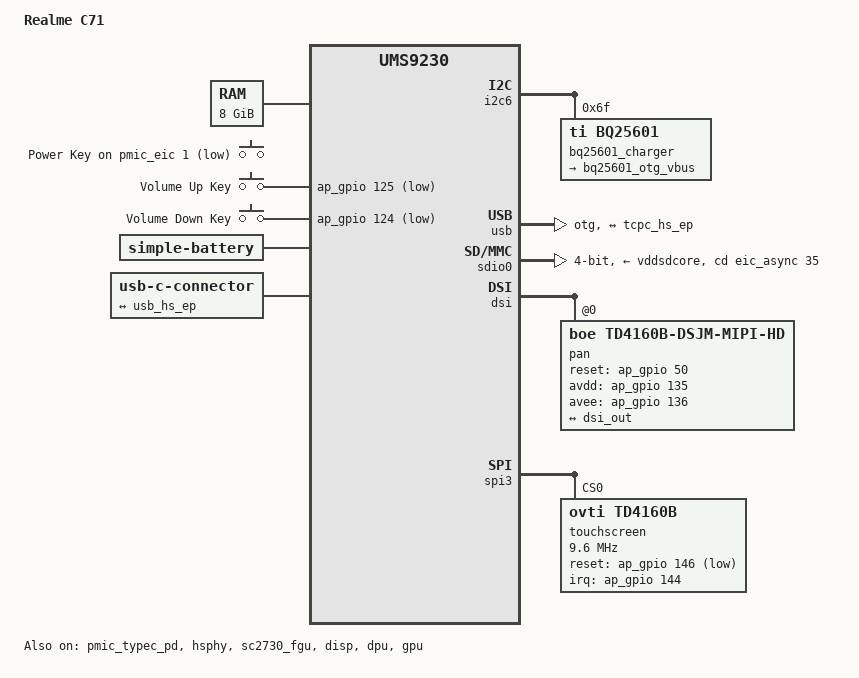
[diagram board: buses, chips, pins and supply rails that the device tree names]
// SPDX-License-Identifier: (GPL-2.0 OR MIT)
/*
 * Copyright (C) 2026 
 */

/dts-v1/;

#include <dt-bindings/input/input.h>
#include <dt-bindings/leds/common.h>
#include <dt-bindings/media/sprd-camsys.h>
#include <dt-bindings/usb/pd.h>
#include "ums9230.dtsi"
#include "sc2730.dtsi"

/ {
	model = "Realme C71";

	compatible = "sprd,ums9230-dhaka", "sprd,ums9230";

        aliases {
                serial0 = &uart0;
                serial1 = &uart1;
                mmc0 = &sdio0;
                i2c0 = &i2c0;
                i2c1 = &i2c1;
                i2c2 = &i2c2;
                i2c3 = &i2c3;
                i2c4 = &i2c4;
                i2c5 = &i2c5;
                i2c6 = &i2c6;
                i2c7 = &aon_i2c0;
        };


	chosen {
		bootargs = "clk_ignore_unused pd_ignore_unused regulator_ignore_unused";

		framebuffer {
			compatible = "simple-framebuffer";
			memory-region = <&framebuffer_region>;
			width = <720>;
			height = <1604>;
			stride = <(720 * 4)>;
			format = "a8r8g8b8";
			status = "disabled"; /* display driver is enabled */

		};
	};

        memory@80000000 {
                device_type = "memory";
                reg = <0x00 0x80000000 0x01 0xfffff000>;
        };

	reserved-memory {
		framebuffer_region: framebuffer-region@9caa8000 {
			compatible = "framebuffer";
			reg = <0 0x9caa8000 0 (720 * 1604 * 4)>;
			iommu-addresses = <&dpu 0x9caa8000 (720 * 1604 * 4)>;
			no-map;
		};

		ramoops@fff80000 {
			compatible = "ramoops";
			reg = <0x0 0xfff80000 0x0 0x40000>;
			console-size = <0x8000>;
			record-size = <0x8000>;
			pmsg-size = <0x8000>;
		};

		linux,cma {
			compatible = "shared-dma-pool";
			size = <0x0 0x8000000>;
			reusable;
			linux,cma-default;
		};
	};

	gpio-keys {
		compatible = "gpio-keys";

		key-power {
			label = "Power Key";
			linux,code = <KEY_POWER>;
			gpios = <&pmic_eic 1 GPIO_ACTIVE_LOW>;
			debounce-interval = <0x02>;
			wakeup-source;
		};

		key-volumeup {
			label = "Volume Up Key";
			linux,code = <KEY_VOLUMEUP>;
			gpios = <&ap_gpio 125 GPIO_ACTIVE_LOW>;
			debounce-interval = <2>;
			wakeup-source;
		};

		key-volumedown {
			label = "Volume Down Key";
			linux,code = <KEY_VOLUMEDOWN>;
			gpios = <&ap_gpio 124 GPIO_ACTIVE_LOW>;
			debounce-interval = <2>;
			wakeup-source;
		};
	};

        bat: battery {
                compatible = "simple-battery";
                charge-full-design-microamp-hours = <4096000>;
                charge-term-current-microamp = <130000>;
                constant-charge-voltage-max-microvolt = <4400000>;
                constant-charge-current-max-microamp = <2000000>;
                voltage-min-design-microvolt = <3500000>;
                voltage-max-design-microvolt = <4370000>;
                factory-internal-resistance-micro-ohms = <268000>;
                resistance-temp-table = <45 53>, <25 100>, <10 395>,
                                        <0 567>, <(-10) 793>;
                ocv-capacity-celsius = <20>;
                ocv-capacity-table-0 = <4362000 100>, <4316000 95>,
                                       <4256000 90>, <4197000 85>,
                                       <4142000 80>, <4089000 75>,
                                       <4040000 70>, <3981000 65>,
                                       <3941000 60>, <3890000 55>,
                                       <3853000 50>, <3826000 45>,
                                       <3805000 40>, <3788000 35>,
                                       <3776000 30>, <3767000 25>,
                                       <3751000 20>, <3725000 15>,
                                       <3693000 10>, <3675000 5>,
                                       <3400000 0>;
        };

};

&i2c6 {
        status = "okay";

        #address-cells = <1>;
        #size-cells = <0>;

        bq25601_charger: charger@6f {
                compatible = "ti,bq25601";
                reg = <0x6f>;
                monitored-battery = <&bat>;

                bq25601_otg_vbus: usb-otg-vbus {
                        regulator-name = "usb-otg-vbus";
                };
        };
};

&pmic_typec_pd {
        vbus-supply = <&bq25601_otg_vbus>;
        status = "okay";

        connector {
                compatible = "usb-c-connector";
                label = "USB-C";
                data-role = "dual";
                power-role = "dual";
                try-power-role = "sink";
                source-pdos = <PDO_FIXED(5000, 1200, PDO_FIXED_USB_COMM)>;
                sink-pdos = <PDO_FIXED(5000, 3000, PDO_FIXED_USB_COMM)>;
                op-sink-microwatt = <10000000>;
        
                port {
                        tcpc_hs_ep: endpoint {
                                remote-endpoint = <&usb_hs_ep>;
                        };
                };
        };
};

&usb {
        dr_mode = "otg";
        usb-role-switch;
        role-switch-default-mode = "peripheral";
        status = "okay";

        port {
                usb_hs_ep: endpoint {
                        remote-endpoint = <&tcpc_hs_ep>;
                };
        };
};

&hsphy {
        phy-supply = <&vddusb33>;
        status = "okay";
};

&sc2730_fgu {
        power-supplies = <&bq25601_charger>;
        monitored-battery = <&bat>;
        sprd,calib-resistance-micro-ohms = <4980>;

        status = "okay";
};


/* SD Card */
&sdio0 {
        status = "okay";

        vmmc-supply = <&vddsdcore>;
        vqmmc-supply = <&vddsdio>;
        cd-gpios = <&eic_async 35 GPIO_ACTIVE_HIGH>;

        bus-width = <4>;
        no-sdio;
        no-mmc;
        sprd,phy-delay-sd-uhs-sdr104 = <0x7f 0x73 0x72 0x72>;
        sprd,phy-delay-sd-uhs-sdr50 = <0x6e 0x7f 0x01 0x01>;
        sprd,phy-delay-sd-highspeed = <0x7f 0x1a 0x9a 0x9a>;
        sprd,phy-delay-legacy = <0x7f 0x1a 0x9a 0x9a>;
        sd-uhs-sdr104;
        sd-uhs-sdr50;
};

&disp {
        status = "okay";
};

&dpu {
        memory-region = <&framebuffer_region>;
        status = "okay";
};
  
&dsi {
        status = "okay";

        #address-cells = <1>;
        #size-cells = <0>;

        pan: panel@0 {
                compatible = "boe,td4160b-dsjm-mipi-hd";
                reg = <0>;
                reset-gpios = <&ap_gpio 50 GPIO_ACTIVE_HIGH>;
                avdd-gpio = <&ap_gpio 135 GPIO_ACTIVE_HIGH>;
                avee-gpio = <&ap_gpio 136 GPIO_ACTIVE_HIGH>;

                port {
                        panel_in: endpoint {
                                remote-endpoint = <&dsi_out>;
                        };
                };
        };
};

&dsi_out {
        remote-endpoint = <&panel_in>;
};

&gpu {
        mali-supply = <&vddgpu>;
        status = "okay";
};

&spi3 {
        status = "okay";
        #address-cells = <1>;
        #size-cells = <0>;

        touchscreen: touchscreen@0 {
                compatible = "ovti,td4160b";
                reg = <0>;
                spi-max-frequency = <9600000>;
                spi-cpol;                       /* SPI mode 3 */
                spi-cpha;

                interrupt-parent = <&ap_gpio>;
                interrupts = <144 IRQ_TYPE_LEVEL_LOW>;  /* downstream: 0x2008 */

                /* downstream: ACTIVE_HIGH + reset-on-state = 0 (reset == low) */
                reset-gpios = <&ap_gpio 146 GPIO_ACTIVE_LOW>;

                /* vdd-supply  = <&...>;   bus/IO */
                /* avdd-supply = <&...>;   analog */

                /* Only one panel phandle is possible; set it per board variant.
                 * Drop it if the panel is not a mainline drm_panel. */
                panel = <&pan>;
                ovti,panel-variant = "dsjm-boe";

                ovti,power-delay-ms = <200>;
                ovti,reset-active-ms = <20>;
                ovti,reset-delay-ms = <200>;
                ovti,byte-delay-us = <0>;
                ovti,block-delay-us = <0>;
                ovti,ubl-max-frequency-hz = <3000000>;
                ovti,ubl-byte-delay-us = <20>;
        };
};
